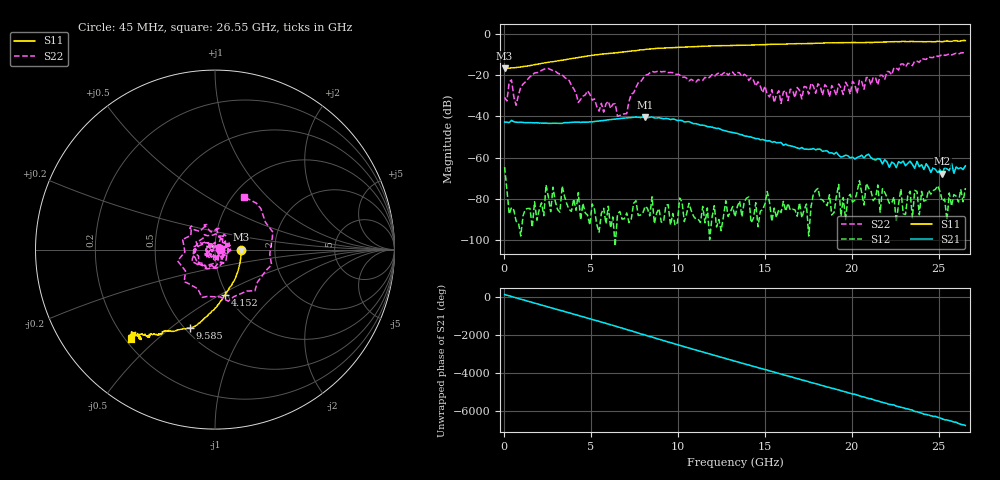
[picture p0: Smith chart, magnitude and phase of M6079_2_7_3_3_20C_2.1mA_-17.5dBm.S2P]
!  2-Port S-parameters saved by WinCal
! VAR MeasName=S-Parameters (CALIBRATED_DATA) read from VNA (C)
! VAR MeasDate=10/5/2015 6:40:40 PM
! VAR NAME=M6079_2_7_3_3_20C_2.1mA_-17.5dBm
! VAR FILENAME=M6079_2_7_3_3_20C_2.1mA_-17.5dBm.S2P
! VAR DATE=10/5/2015 6:40:40 PM
! VAR PHYS_PORTS=2,1
! VAR ObjTypeName=DATASET
! VAR IndexType=Frequency
# Hz S DB R 50
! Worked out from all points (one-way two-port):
!   201 points, 45 MHz to 26.55 GHz, reference 50 ohm
!   highest |S21| = -40.29 dB at 8.127 GHz (marker M1); lowest = -67.8 dB at 25.22 GHz (marker M2)
!   lowest |S11| = -16.8 dB at 45 MHz (marker M3), VSWR 1.34, Z = 66.9 - j0.024 ohm
!   |S11| at or under -10 dB: start of sweep to 5.532 GHz
!   |S22| runs from -40.0 to -9.2 dB; largest |S21 - S12| = 0.0097
!   S11 on the Smith chart (normalised r, x): 45 MHz: 1.34, -0.00; 4.152 GHz: 0.97, -0.53; 9.585 GHz: 0.53, -0.59; 26.55 GHz: 0.22, -0.41
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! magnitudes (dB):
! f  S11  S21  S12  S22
! 45 MHz  -16.8  -42.7  -64.6  -30.8
! 310 MHz  -16.7  -43.0  -87.4  -23.3
! 707.5 MHz  -16.4  -42.8  -90.8  -34.6
! 2.297 GHz  -14.2  -43.4  -88.1  -17.2
! 2.43 GHz  -14.0  -43.3  -73.2  -16.9
! 4.152 GHz  -11.7  -42.8  -85.5  -28.8
! 4.55 GHz  -11.2  -42.8  -82.2  -30.3
! 7.067 GHz  -8.7  -40.7  -86.7  -38.7
! 8.127 GHz  -7.6  -40.3  -83.5  -20.0
! 8.922 GHz  -7.1  -40.6  -84.7  -18.0
! 9.585 GHz  -6.8  -41.6  -92.7  -18.7
! 13.29 GHz  -5.6  -48.0  -88.7  -20.1
! 15.55 GHz  -5.1  -52.2  -84.4  -33.3
! 17.8 GHz  -4.7  -55.6  -77.7  -25.3
! 20.18 GHz  -4.3  -60.7  -80.7  -24.4
! 20.45 GHz  -4.2  -59.5  -71.1  -22.3
! 20.71 GHz  -4.3  -60.2  -82.9  -26.9
! 20.85 GHz  -4.2  -58.9  -72.5  -21.2
! 22.17 GHz  -4.0  -64.7  -82.1  -18.4
! 24.95 GHz  -3.7  -67.2  -73.6  -11.0
! 25.22 GHz  -3.9  -67.8  -81.1  -9.9
! 26.55 GHz  -3.3  -64.0  -74.7  -9.5
